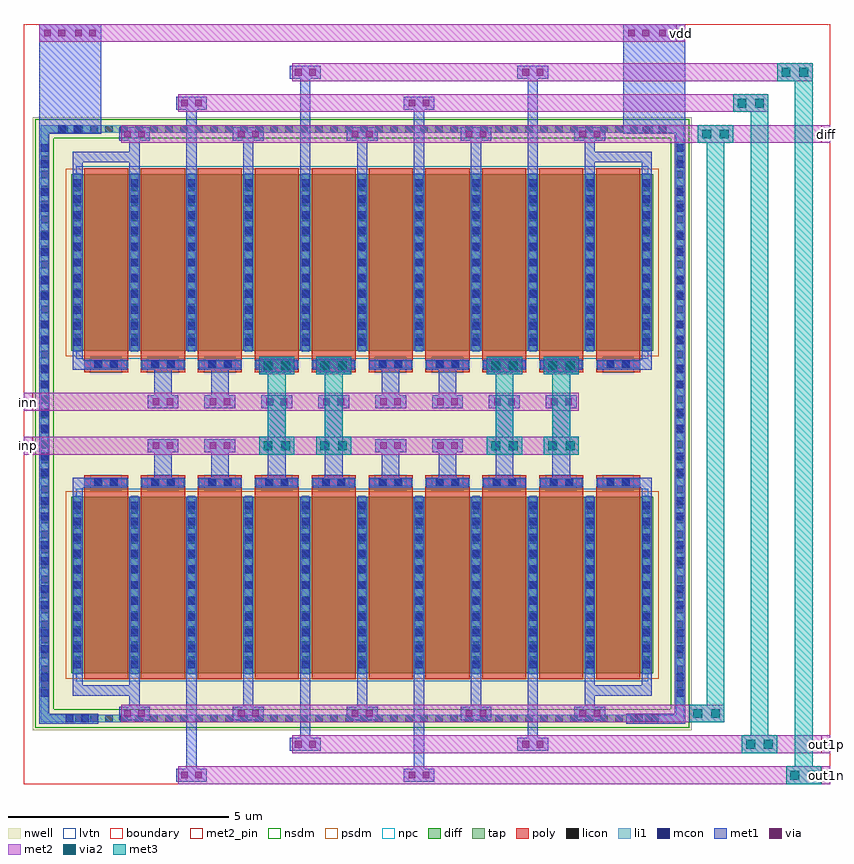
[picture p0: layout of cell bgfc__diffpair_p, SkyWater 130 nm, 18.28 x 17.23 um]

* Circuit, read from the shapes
.subckt bgfc__diffpair_p diff inn inp out1n out1p vdd
XM1 diff diff diff vdd sky130_fd_pr__pfet_01v8_lvt w=4 l=1 m=4
XM2 out1n inp diff vdd sky130_fd_pr__pfet_01v8_lvt w=4 l=1 m=8
XM3 out1p inn diff vdd sky130_fd_pr__pfet_01v8_lvt w=4 l=1 m=8
.ends

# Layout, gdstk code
from math import pi, radians
import gdstk
lib = gdstk.Library(unit=1e-6, precision=1e-09)
def R(c, l, rs):  # rectangles x0, y0, x1, y1
    for r in rs: c.add(gdstk.rectangle(r[:2], r[2:], *l))
def A(c, l, x, y, w, h, nx, ny, dx, dy):  # array of equal rectangles
    R(c, l, [(x+i*dx, y+j*dy, x+i*dx+w, y+j*dy+h) for i in range(nx) for j in range(ny)])
nwell = (64, 20)
diff = (65, 20)
tap = (65, 44)
poly = (66, 20)
licon = (66, 44)
li1 = (67, 20)
mcon = (67, 44)
met1 = (68, 20)
via = (68, 44)
met2_pin = (69, 16)
met2 = (69, 20)
via2 = (69, 44)
met3 = (70, 20)
nsdm = (93, 44)
psdm = (94, 20)
npc = (95, 20)
lvtn = (125, 44)
boundary = (235, 4)

bgfcdpp__guardring_p = lib.new_cell('bgfcdpp__Guardring_P')
A(bgfcdpp__guardring_p, licon, 44.22, 21.57, 0.17, 0.17, 39, 1, 0.34, 0)
A(bgfcdpp__guardring_p, licon, 43.43, 22.345, 0.17, 0.17, 1, 36, 0, 0.34)
A(bgfcdpp__guardring_p, licon, 57.84, 22.345, 0.17, 0.17, 1, 36, 0, 0.34)
A(bgfcdpp__guardring_p, licon, 43.88, 34.945, 0.17, 0.17, 40, 1, 0.34, 0)
bgfcdpp__guardring_p.add(gdstk.FlexPath([(43.43,35.03),(57.925,35.03),(57.925,21.655),(43.515,21.655),(43.515,35.03)], 0.17, ends="flush", simple_path=True, layer=67, datatype=20))  # li1
bgfcdpp__guardring_p.add(gdstk.FlexPath([(43.305,35.03),(57.925,35.03),(57.925,21.655),(43.515,21.655),(43.515,35.03)], 0.42, ends="flush", simple_path=True, layer=93, datatype=44))  # nsdm
bgfcdpp__guardring_p.add(gdstk.FlexPath([(43.25,35.03),(57.925,35.03),(57.925,21.655),(43.515,21.655),(43.515,35.03)], 0.53, ends="flush", simple_path=True, layer=64, datatype=20))  # nwell
bgfcdpp__guardring_p.add(gdstk.FlexPath([(43.43,35.03),(57.925,35.03),(57.925,21.655),(43.515,21.655),(43.515,35.03)], 0.17, ends="flush", simple_path=True, layer=65, datatype=44))  # tap

via__m1_m2 = lib.new_cell('via__M1_M2')
R(via__m1_m2, met1, [(0,0.05,0.7,0.35)])
R(via__m1_m2, via, [(0.115,0.125,0.265,0.275), (0.435,0.125,0.585,0.275)])
R(via__m1_m2, met2, [(0.05,0,0.65,0.4)])

bgfcdpp__m3 = lib.new_cell('bgfcdpp__M3')
R(bgfcdpp__m3, nwell, [(-0.97,-2.49,0.97,2.32)])
R(bgfcdpp__m3, diff, [(-0.79,-2.18,0.79,1.82)])
R(bgfcdpp__m3, poly, [(-0.5,-2.31,0.5,2.305)])
A(bgfcdpp__m3, licon, -0.73, -1.965, 0.17, 0.17, 1, 11, 0, 0.34)
A(bgfcdpp__m3, licon, 0.56, -1.965, 0.17, 0.17, 1, 11, 0, 0.34)
R(bgfcdpp__m3, licon, [(-0.255,2.055,-0.085,2.225), (0.085,2.055,0.255,2.225)])
R(bgfcdpp__m3, li1, [(-0.73,-2.2,-0.56,1.84), (0.56,-2.2,0.73,1.84), (-0.5,2.055,0.5,2.225)])
A(bgfcdpp__m3, mcon, -0.73, -2.065, 0.17, 0.17, 1, 11, 0, 0.36)
A(bgfcdpp__m3, mcon, 0.56, -2.065, 0.17, 0.17, 1, 11, 0, 0.36)
R(bgfcdpp__m3, mcon, [(-0.265,2.055,-0.095,2.225), (0.095,2.055,0.265,2.225)])
R(bgfcdpp__m3, met1, [(-0.76,-2.18,-0.53,1.82), (0.53,-2.18,0.76,1.82), (-0.48,2.025,0.48,2.255)])
R(bgfcdpp__m3, psdm, [(-0.915,-2.305,0.915,1.945)])
R(bgfcdpp__m3, npc, [(-0.355,1.955,0.355,2.325)])
R(bgfcdpp__m3, lvtn, [(-0.68,-2.36,0.68,2)])

bgfcdpp__m2 = lib.new_cell('bgfcdpp__M2')
R(bgfcdpp__m2, nwell, [(-0.97,-2.49,0.97,2.32)])
R(bgfcdpp__m2, diff, [(-0.79,-2.18,0.79,1.82)])
R(bgfcdpp__m2, poly, [(-0.5,-2.31,0.5,2.305)])
A(bgfcdpp__m2, licon, -0.73, -1.965, 0.17, 0.17, 1, 11, 0, 0.34)
A(bgfcdpp__m2, licon, 0.56, -1.965, 0.17, 0.17, 1, 11, 0, 0.34)
R(bgfcdpp__m2, licon, [(-0.255,2.055,-0.085,2.225), (0.085,2.055,0.255,2.225)])
R(bgfcdpp__m2, li1, [(-0.73,-2.2,-0.56,1.84), (0.56,-2.2,0.73,1.84), (-0.5,2.055,0.5,2.225)])
A(bgfcdpp__m2, mcon, -0.73, -2.065, 0.17, 0.17, 1, 11, 0, 0.36)
A(bgfcdpp__m2, mcon, 0.56, -2.065, 0.17, 0.17, 1, 11, 0, 0.36)
R(bgfcdpp__m2, mcon, [(-0.265,2.055,-0.095,2.225), (0.095,2.055,0.265,2.225)])
R(bgfcdpp__m2, met1, [(-0.76,-2.18,-0.53,1.82), (0.53,-2.18,0.76,1.82), (-0.48,2.025,0.48,2.255)])
R(bgfcdpp__m2, psdm, [(-0.915,-2.305,0.915,1.945)])
R(bgfcdpp__m2, npc, [(-0.355,1.955,0.355,2.325)])
R(bgfcdpp__m2, lvtn, [(-0.68,-2.36,0.68,2)])

via__m2_m3 = lib.new_cell('via__M2_M3')
R(via__m2_m3, met2, [(0,0,0.8,0.4)])
R(via__m2_m3, via2, [(0.1,0.1,0.3,0.3), (0.1,0.1,0.3,0.3), (0.5,0.1,0.7,0.3), (0.5,0.1,0.7,0.3)])
R(via__m2_m3, met3, [(0,0,0.8,0.4)])

via__li_m1 = lib.new_cell('via__LI_M1')
R(via__li_m1, li1, [(0.03,0.03,0.56,0.2)])
R(via__li_m1, mcon, [(0.03,0.03,0.2,0.2), (0.39,0.03,0.56,0.2)])
R(via__li_m1, met1, [(0,0,0.59,0.23)])

bgfcdpp__dum = lib.new_cell('bgfcdpp__DUM')
R(bgfcdpp__dum, nwell, [(-0.97,-2.49,0.97,2.32)])
R(bgfcdpp__dum, diff, [(-0.79,-2.18,0.79,1.82)])
R(bgfcdpp__dum, poly, [(-0.5,-2.31,0.5,2.305)])
A(bgfcdpp__dum, licon, -0.73, -1.965, 0.17, 0.17, 1, 11, 0, 0.34)
A(bgfcdpp__dum, licon, 0.56, -1.965, 0.17, 0.17, 1, 11, 0, 0.34)
R(bgfcdpp__dum, licon, [(-0.255,2.055,-0.085,2.225), (0.085,2.055,0.255,2.225)])
R(bgfcdpp__dum, li1, [(-0.73,-2.2,-0.56,1.84), (0.56,-2.2,0.73,1.84), (-0.5,2.055,0.5,2.225)])
A(bgfcdpp__dum, mcon, -0.73, -2.065, 0.17, 0.17, 1, 11, 0, 0.36)
A(bgfcdpp__dum, mcon, 0.56, -2.065, 0.17, 0.17, 1, 11, 0, 0.36)
R(bgfcdpp__dum, mcon, [(-0.265,2.055,-0.095,2.225), (0.095,2.055,0.265,2.225)])
R(bgfcdpp__dum, met1, [(-0.76,-2.18,-0.53,1.82), (0.53,-2.18,0.76,1.82), (-0.48,2.025,0.48,2.255)])
R(bgfcdpp__dum, psdm, [(-0.915,-2.305,0.915,1.945)])
R(bgfcdpp__dum, npc, [(-0.355,1.955,0.355,2.325)])
R(bgfcdpp__dum, lvtn, [(-0.68,-2.36,0.68,2)])

bgfc__diffpair_p = lib.new_cell('bgfc__diffpair_p')
R(bgfc__diffpair_p, nwell, [(0.2,1.215,15.14,15.12)])
R(bgfc__diffpair_p, met1, [(0.35,14.74,1.75,17.23), (13.59,14.74,14.99,17.23)])
R(bgfc__diffpair_p, met2_pin, [(18.08,0,18.28,0.4), (18.08,0.7,18.28,1.1), (0,7.47,0.2,7.87), (0,8.465,0.2,8.865), (18.08,14.535,18.28,14.935), (14.79,16.83,14.99,17.23)])
R(bgfc__diffpair_p, met2, [(0.355,16.83,1.75,17.23), (13.595,16.83,14.99,17.23)])
R(bgfc__diffpair_p, boundary, [(0,0,18.28,17.23)])
bgfc__diffpair_p.add(gdstk.FlexPath([(15.68,14.735),(15.68,1.6)], 0.4, ends="extended", simple_path=True, layer=70, datatype=20))  # met3
bgfc__diffpair_p.add(gdstk.FlexPath([(16.68,15.435),(16.68,0.9)], 0.4, ends="extended", simple_path=True, layer=70, datatype=20))  # met3
bgfc__diffpair_p.add(gdstk.FlexPath([(17.68,16.135),(17.68,0.2)], 0.4, ends="extended", simple_path=True, layer=70, datatype=20))  # met3
bgfc__diffpair_p.add(gdstk.FlexPath([(5.735,7.67),(5.735,9.24)], 0.4, ends="extended", simple_path=True, layer=70, datatype=20))  # met3
bgfc__diffpair_p.add(gdstk.FlexPath([(5.735,7.67),(5.735,9.24)], 0.4, ends="extended", simple_path=True, layer=70, datatype=20))  # met3
bgfc__diffpair_p.add(gdstk.FlexPath([(7.025,7.67),(7.025,9.24)], 0.4, ends="extended", simple_path=True, layer=70, datatype=20))  # met3
bgfc__diffpair_p.add(gdstk.FlexPath([(7.025,7.67),(7.025,9.24)], 0.4, ends="extended", simple_path=True, layer=70, datatype=20))  # met3
bgfc__diffpair_p.add(gdstk.FlexPath([(10.895,7.67),(10.895,9.24)], 0.4, ends="extended", simple_path=True, layer=70, datatype=20))  # met3
bgfc__diffpair_p.add(gdstk.FlexPath([(10.895,7.67),(10.895,9.24)], 0.4, ends="extended", simple_path=True, layer=70, datatype=20))  # met3
bgfc__diffpair_p.add(gdstk.FlexPath([(12.185,7.67),(12.185,9.24)], 0.4, ends="extended", simple_path=True, layer=70, datatype=20))  # met3
bgfc__diffpair_p.add(gdstk.FlexPath([(12.185,7.67),(12.185,9.24)], 0.4, ends="extended", simple_path=True, layer=70, datatype=20))  # met3
bgfc__diffpair_p.add(gdstk.FlexPath([(15.68,1.6),(2.41,1.6)], 0.4, ends="extended", simple_path=True, layer=69, datatype=20))  # met2
bgfc__diffpair_p.add(gdstk.FlexPath([(17.68,16.135),(6.28,16.135)], 0.4, ends="extended", simple_path=True, layer=69, datatype=20))  # met2
bgfc__diffpair_p.add(gdstk.FlexPath([(16.68,15.435),(3.7,15.435)], 0.4, ends="extended", simple_path=True, layer=69, datatype=20))  # met2
bgfc__diffpair_p.add(gdstk.FlexPath([(14.79,17.03),(0.55,17.03)], 0.4, ends="extended", simple_path=True, layer=69, datatype=20))  # met2
bgfc__diffpair_p.add(gdstk.FlexPath([(18.08,14.735),(2.41,14.735)], 0.4, ends="extended", simple_path=True, layer=69, datatype=20))  # met2
bgfc__diffpair_p.add(gdstk.FlexPath([(18.08,0.2),(3.7,0.2)], 0.4, ends="extended", simple_path=True, layer=69, datatype=20))  # met2
bgfc__diffpair_p.add(gdstk.FlexPath([(18.08,0.9),(6.28,0.9)], 0.4, ends="extended", simple_path=True, layer=69, datatype=20))  # met2
bgfc__diffpair_p.add(gdstk.FlexPath([(12.385,8.665),(0.2,8.665)], 0.4, ends="extended", simple_path=True, layer=69, datatype=20))  # met2
bgfc__diffpair_p.add(gdstk.FlexPath([(12.385,7.67),(0.2,7.67)], 0.4, ends="extended", simple_path=True, layer=69, datatype=20))  # met2
bgfc__diffpair_p.add(gdstk.FlexPath([(2.51,14.47),(2.51,13.94)], 0.23, ends="extended", simple_path=True, layer=68, datatype=20))  # met1
bgfc__diffpair_p.add(gdstk.FlexPath([(5.09,14.47),(5.09,13.94)], 0.23, ends="extended", simple_path=True, layer=68, datatype=20))  # met1
bgfc__diffpair_p.add(gdstk.FlexPath([(7.67,14.47),(7.67,13.94)], 0.23, ends="extended", simple_path=True, layer=68, datatype=20))  # met1
bgfc__diffpair_p.add(gdstk.FlexPath([(10.25,14.47),(10.25,13.94)], 0.23, ends="extended", simple_path=True, layer=68, datatype=20))  # met1
bgfc__diffpair_p.add(gdstk.FlexPath([(3.155,8.715),(3.155,9.42)], 0.4, ends="extended", simple_path=True, layer=68, datatype=20))  # met1
bgfc__diffpair_p.add(gdstk.FlexPath([(12.83,14.47),(12.83,13.94)], 0.23, ends="extended", simple_path=True, layer=68, datatype=20))  # met1
bgfc__diffpair_p.add(gdstk.FlexPath([(6.38,15.87),(6.38,13.94)], 0.23, ends="extended", simple_path=True, layer=68, datatype=20))  # met1
bgfc__diffpair_p.add(gdstk.FlexPath([(1.22,9.78),(1.22,9.505),(1.385,9.505)], 0.23, ends="extended", simple_path=True, layer=68, datatype=20))  # met1
bgfc__diffpair_p.add(gdstk.FlexPath([(1.22,13.94),(1.22,14.215),(2.51,14.215)], 0.23, ends="extended", simple_path=True, layer=68, datatype=20))  # met1
bgfc__diffpair_p.add(gdstk.FlexPath([(14.12,9.78),(14.12,9.505),(13.955,9.505)], 0.23, ends="extended", simple_path=True, layer=68, datatype=20))  # met1
bgfc__diffpair_p.add(gdstk.FlexPath([(14.12,13.94),(14.12,14.215),(12.83,14.215)], 0.23, ends="extended", simple_path=True, layer=68, datatype=20))  # met1
bgfc__diffpair_p.add(gdstk.FlexPath([(1.22,6.555),(1.22,6.83),(1.385,6.83)], 0.23, ends="extended", simple_path=True, layer=68, datatype=20))  # met1
bgfc__diffpair_p.add(gdstk.FlexPath([(3.8,15.17),(3.8,13.94)], 0.23, ends="extended", simple_path=True, layer=68, datatype=20))  # met1
bgfc__diffpair_p.add(gdstk.FlexPath([(11.54,15.87),(11.54,13.94)], 0.23, ends="extended", simple_path=True, layer=68, datatype=20))  # met1
bgfc__diffpair_p.add(gdstk.FlexPath([(8.96,15.17),(8.96,13.94)], 0.23, ends="extended", simple_path=True, layer=68, datatype=20))  # met1
bgfc__diffpair_p.add(gdstk.FlexPath([(1.22,2.395),(1.22,2.12),(2.51,2.12)], 0.23, ends="extended", simple_path=True, layer=68, datatype=20))  # met1
bgfc__diffpair_p.add(gdstk.FlexPath([(3.155,7.145),(3.155,7.62)], 0.4, ends="extended", simple_path=True, layer=68, datatype=20))  # met1
bgfc__diffpair_p.add(gdstk.FlexPath([(5.735,7.145),(5.735,8.615)], 0.4, ends="extended", simple_path=True, layer=68, datatype=20))  # met1
bgfc__diffpair_p.add(gdstk.FlexPath([(4.445,7.145),(4.445,7.62)], 0.4, ends="extended", simple_path=True, layer=68, datatype=20))  # met1
bgfc__diffpair_p.add(gdstk.FlexPath([(4.445,8.715),(4.445,9.42)], 0.4, ends="extended", simple_path=True, layer=68, datatype=20))  # met1
bgfc__diffpair_p.add(gdstk.FlexPath([(5.735,7.145),(5.735,8.615)], 0.4, ends="extended", simple_path=True, layer=68, datatype=20))  # met1
bgfc__diffpair_p.add(gdstk.FlexPath([(7.025,7.145),(7.025,8.615)], 0.4, ends="extended", simple_path=True, layer=68, datatype=20))  # met1
bgfc__diffpair_p.add(gdstk.FlexPath([(7.025,7.145),(7.025,8.615)], 0.4, ends="extended", simple_path=True, layer=68, datatype=20))  # met1
bgfc__diffpair_p.add(gdstk.FlexPath([(8.315,8.715),(8.315,9.42)], 0.4, ends="extended", simple_path=True, layer=68, datatype=20))  # met1
bgfc__diffpair_p.add(gdstk.FlexPath([(8.315,7.145),(8.315,7.62)], 0.4, ends="extended", simple_path=True, layer=68, datatype=20))  # met1
bgfc__diffpair_p.add(gdstk.FlexPath([(10.895,7.145),(10.895,8.615)], 0.4, ends="extended", simple_path=True, layer=68, datatype=20))  # met1
bgfc__diffpair_p.add(gdstk.FlexPath([(9.605,7.145),(9.605,7.62)], 0.4, ends="extended", simple_path=True, layer=68, datatype=20))  # met1
bgfc__diffpair_p.add(gdstk.FlexPath([(9.605,8.715),(9.605,9.42)], 0.4, ends="extended", simple_path=True, layer=68, datatype=20))  # met1
bgfc__diffpair_p.add(gdstk.FlexPath([(10.895,7.145),(10.895,8.615)], 0.4, ends="extended", simple_path=True, layer=68, datatype=20))  # met1
bgfc__diffpair_p.add(gdstk.FlexPath([(12.185,7.145),(12.185,8.615)], 0.4, ends="extended", simple_path=True, layer=68, datatype=20))  # met1
bgfc__diffpair_p.add(gdstk.FlexPath([(12.185,7.145),(12.185,8.615)], 0.4, ends="extended", simple_path=True, layer=68, datatype=20))  # met1
bgfc__diffpair_p.add(gdstk.FlexPath([(6.38,1.165),(6.38,2.395)], 0.23, ends="extended", simple_path=True, layer=68, datatype=20))  # met1
bgfc__diffpair_p.add(gdstk.FlexPath([(3.8,0.465),(3.8,2.395)], 0.23, ends="extended", simple_path=True, layer=68, datatype=20))  # met1
bgfc__diffpair_p.add(gdstk.FlexPath([(11.54,1.165),(11.54,2.395)], 0.23, ends="extended", simple_path=True, layer=68, datatype=20))  # met1
bgfc__diffpair_p.add(gdstk.FlexPath([(8.96,0.465),(8.96,2.395)], 0.23, ends="extended", simple_path=True, layer=68, datatype=20))  # met1
bgfc__diffpair_p.add(gdstk.FlexPath([(2.51,1.865),(2.51,2.395)], 0.23, ends="extended", simple_path=True, layer=68, datatype=20))  # met1
bgfc__diffpair_p.add(gdstk.FlexPath([(5.09,1.865),(5.09,2.395)], 0.23, ends="extended", simple_path=True, layer=68, datatype=20))  # met1
bgfc__diffpair_p.add(gdstk.FlexPath([(7.67,1.865),(7.67,2.395)], 0.23, ends="extended", simple_path=True, layer=68, datatype=20))  # met1
bgfc__diffpair_p.add(gdstk.FlexPath([(10.25,1.865),(10.25,2.395)], 0.23, ends="extended", simple_path=True, layer=68, datatype=20))  # met1
bgfc__diffpair_p.add(gdstk.FlexPath([(12.83,1.865),(12.83,2.395)], 0.23, ends="extended", simple_path=True, layer=68, datatype=20))  # met1
bgfc__diffpair_p.add(gdstk.FlexPath([(14.12,6.555),(14.12,6.83),(13.955,6.83)], 0.23, ends="extended", simple_path=True, layer=68, datatype=20))  # met1
bgfc__diffpair_p.add(gdstk.FlexPath([(14.12,2.395),(14.12,2.12),(12.83,2.12)], 0.23, ends="extended", simple_path=True, layer=68, datatype=20))  # met1
bgfc__diffpair_p.add(gdstk.FlexPath([(1.635,14.855),(0.465,14.855),(0.465,1.48),(1.57,1.48)], 0.23, ends="extended", simple_path=True, layer=68, datatype=20))  # met1
bgfc__diffpair_p.add(gdstk.FlexPath([(13.705,14.855),(14.875,14.855),(14.875,1.48),(13.77,1.48)], 0.23, ends="extended", simple_path=True, layer=68, datatype=20))  # met1
bgfc__diffpair_p.add(gdstk.Reference(bgfcdpp__guardring_p, (-43.05,-20.175)))
bgfc__diffpair_p.add(gdstk.Reference(via__m1_m2, (8.61,15.235)))
bgfc__diffpair_p.add(gdstk.Reference(bgfcdpp__m3, (8.315,11.645), x_reflection=True))
bgfc__diffpair_p.add(gdstk.Reference(bgfcdpp__m3, (9.605,11.645), x_reflection=True))
bgfc__diffpair_p.add(gdstk.Reference(bgfcdpp__m2, (9.605,4.69)))
bgfc__diffpair_p.add(gdstk.Reference(bgfcdpp__m2, (8.315,4.69)))
bgfc__diffpair_p.add(gdstk.Reference(via__m1_m2, (9.31,0.4), rotation=pi))
bgfc__diffpair_p.add(gdstk.Reference(via__m1_m2, (11.835,8.465)))
bgfc__diffpair_p.add(gdstk.Reference(via__m1_m2, (10.545,8.465)))
bgfc__diffpair_p.add(gdstk.Reference(via__m1_m2, (9.255,8.465)))
bgfc__diffpair_p.add(gdstk.Reference(via__m1_m2, (7.965,8.465)))
bgfc__diffpair_p.add(gdstk.Reference(via__m1_m2, (6.675,8.465)))
bgfc__diffpair_p.add(gdstk.Reference(via__m1_m2, (5.385,8.465)))
bgfc__diffpair_p.add(gdstk.Reference(via__m1_m2, (2.805,8.465)))
bgfc__diffpair_p.add(gdstk.Reference(via__m1_m2, (4.095,8.465)))
bgfc__diffpair_p.add(gdstk.Reference(via__m2_m3, (15.28,14.535)))
bgfc__diffpair_p.add(gdstk.Reference(via__m2_m3, (16.08,15.235)))
bgfc__diffpair_p.add(gdstk.Reference(via__m2_m3, (17.08,15.935)))
bgfc__diffpair_p.add(gdstk.Reference(via__li_m1, (14.595,14.74), rotation=pi, x_reflection=True))
bgfc__diffpair_p.add(gdstk.Reference(via__li_m1, (14.99,14.535), rotation=3*pi/2, x_reflection=True))
bgfc__diffpair_p.add(gdstk.Reference(via__li_m1, (14.99,13.535), rotation=3*pi/2, x_reflection=True))
bgfc__diffpair_p.add(gdstk.Reference(via__li_m1, (14.99,12.535), rotation=3*pi/2, x_reflection=True))
bgfc__diffpair_p.add(gdstk.Reference(via__li_m1, (14.99,11.535), rotation=3*pi/2, x_reflection=True))
bgfc__diffpair_p.add(gdstk.Reference(via__li_m1, (14.99,10.535), rotation=3*pi/2, x_reflection=True))
bgfc__diffpair_p.add(gdstk.Reference(via__li_m1, (14.99,9.535), rotation=3*pi/2, x_reflection=True))
bgfc__diffpair_p.add(gdstk.Reference(via__m1_m2, (13.59,16.83)))
bgfc__diffpair_p.add(gdstk.Reference(via__m1_m2, (14.29,16.83)))
bgfc__diffpair_p.add(gdstk.Reference(via__m1_m2, (11.19,15.935)))
bgfc__diffpair_p.add(gdstk.Reference(bgfcdpp__m2, (10.895,11.645), x_reflection=True))
bgfc__diffpair_p.add(gdstk.Reference(via__m2_m3, (10.495,9.285)))
bgfc__diffpair_p.add(gdstk.Reference(via__m1_m2, (10.545,9.685), x_reflection=True))
bgfc__diffpair_p.add(gdstk.Reference(via__m1_m2, (9.9,14.535)))
bgfc__diffpair_p.add(gdstk.Reference(bgfcdpp__m2, (12.185,11.645), x_reflection=True))
bgfc__diffpair_p.add(gdstk.Reference(bgfcdpp__dum, (13.475,11.645), x_reflection=True))
bgfc__diffpair_p.add(gdstk.Reference(via__m1_m2, (12.48,14.535)))
bgfc__diffpair_p.add(gdstk.Reference(via__m2_m3, (11.785,9.285)))
bgfc__diffpair_p.add(gdstk.Reference(via__m1_m2, (11.835,9.685), x_reflection=True))
bgfc__diffpair_p.add(gdstk.Reference(via__m1_m2, (6.675,9.685), x_reflection=True))
bgfc__diffpair_p.add(gdstk.Reference(via__li_m1, (0.35,14.535), rotation=3*pi/2))
bgfc__diffpair_p.add(gdstk.Reference(via__li_m1, (0.35,13.535), rotation=3*pi/2))
bgfc__diffpair_p.add(gdstk.Reference(via__li_m1, (0.35,12.535), rotation=3*pi/2))
bgfc__diffpair_p.add(gdstk.Reference(via__li_m1, (0.35,11.535), rotation=3*pi/2))
bgfc__diffpair_p.add(gdstk.Reference(via__li_m1, (0.35,10.535), rotation=3*pi/2))
bgfc__diffpair_p.add(gdstk.Reference(via__li_m1, (0.35,9.535), rotation=3*pi/2))
bgfc__diffpair_p.add(gdstk.Reference(via__m1_m2, (3.45,15.235)))
bgfc__diffpair_p.add(gdstk.Reference(via__m1_m2, (7.32,14.535)))
bgfc__diffpair_p.add(gdstk.Reference(bgfcdpp__dum, (1.865,11.645), x_reflection=True))
bgfc__diffpair_p.add(gdstk.Reference(bgfcdpp__m3, (3.155,11.645), x_reflection=True))
bgfc__diffpair_p.add(gdstk.Reference(bgfcdpp__m2, (5.735,11.645), x_reflection=True))
bgfc__diffpair_p.add(gdstk.Reference(via__m2_m3, (5.335,9.285)))
bgfc__diffpair_p.add(gdstk.Reference(via__m1_m2, (5.385,9.685), x_reflection=True))
bgfc__diffpair_p.add(gdstk.Reference(via__m1_m2, (4.74,14.535)))
bgfc__diffpair_p.add(gdstk.Reference(bgfcdpp__m2, (7.025,11.645), x_reflection=True))
bgfc__diffpair_p.add(gdstk.Reference(via__m1_m2, (1.05,16.83)))
bgfc__diffpair_p.add(gdstk.Reference(via__m1_m2, (0.35,16.83)))
bgfc__diffpair_p.add(gdstk.Reference(via__m1_m2, (2.16,14.535)))
bgfc__diffpair_p.add(gdstk.Reference(bgfcdpp__m3, (4.445,11.645), x_reflection=True))
bgfc__diffpair_p.add(gdstk.Reference(via__li_m1, (0.745,14.74)))
bgfc__diffpair_p.add(gdstk.Reference(via__m1_m2, (6.03,15.935)))
bgfc__diffpair_p.add(gdstk.Reference(via__m2_m3, (6.625,9.285)))
bgfc__diffpair_p.add(gdstk.Reference(via__li_m1, (0.35,8.535), rotation=3*pi/2))
bgfc__diffpair_p.add(gdstk.Reference(via__m1_m2, (7.965,7.47)))
bgfc__diffpair_p.add(gdstk.Reference(via__m1_m2, (4.095,7.47)))
bgfc__diffpair_p.add(gdstk.Reference(bgfcdpp__m3, (5.735,4.69)))
bgfc__diffpair_p.add(gdstk.Reference(via__m1_m2, (2.805,7.47)))
bgfc__diffpair_p.add(gdstk.Reference(via__li_m1, (0.35,7.535), rotation=3*pi/2))
bgfc__diffpair_p.add(gdstk.Reference(via__li_m1, (0.35,6.535), rotation=3*pi/2))
bgfc__diffpair_p.add(gdstk.Reference(via__li_m1, (0.35,5.535), rotation=3*pi/2))
bgfc__diffpair_p.add(gdstk.Reference(via__li_m1, (0.35,4.535), rotation=3*pi/2))
bgfc__diffpair_p.add(gdstk.Reference(via__li_m1, (0.35,3.535), rotation=3*pi/2))
bgfc__diffpair_p.add(gdstk.Reference(via__li_m1, (0.35,2.535), rotation=3*pi/2))
bgfc__diffpair_p.add(gdstk.Reference(via__li_m1, (1.505,1.595), rotation=pi))
bgfc__diffpair_p.add(gdstk.Reference(via__m1_m2, (8.02,1.8), rotation=pi))
bgfc__diffpair_p.add(gdstk.Reference(via__m2_m3, (5.335,7.47)))
bgfc__diffpair_p.add(gdstk.Reference(bgfcdpp__m3, (7.025,4.69)))
bgfc__diffpair_p.add(gdstk.Reference(via__m1_m2, (4.15,0.4), rotation=pi))
bgfc__diffpair_p.add(gdstk.Reference(via__m1_m2, (6.73,1.1), rotation=pi))
bgfc__diffpair_p.add(gdstk.Reference(bgfcdpp__dum, (1.865,4.69)))
bgfc__diffpair_p.add(gdstk.Reference(bgfcdpp__m2, (3.155,4.69)))
bgfc__diffpair_p.add(gdstk.Reference(via__m1_m2, (2.86,1.8), rotation=pi))
bgfc__diffpair_p.add(gdstk.Reference(bgfcdpp__m2, (4.445,4.69)))
bgfc__diffpair_p.add(gdstk.Reference(via__m1_m2, (5.44,1.8), rotation=pi))
bgfc__diffpair_p.add(gdstk.Reference(via__m2_m3, (6.625,7.47)))
bgfc__diffpair_p.add(gdstk.Reference(via__li_m1, (14.99,8.535), rotation=3*pi/2, x_reflection=True))
bgfc__diffpair_p.add(gdstk.Reference(via__m2_m3, (10.495,7.47)))
bgfc__diffpair_p.add(gdstk.Reference(via__m1_m2, (9.255,7.47)))
bgfc__diffpair_p.add(gdstk.Reference(via__li_m1, (13.835,1.595), x_reflection=True))
bgfc__diffpair_p.add(gdstk.Reference(via__m1_m2, (10.6,1.8), rotation=pi))
bgfc__diffpair_p.add(gdstk.Reference(via__m2_m3, (11.785,7.47)))
bgfc__diffpair_p.add(gdstk.Reference(bgfcdpp__m3, (10.895,4.69)))
bgfc__diffpair_p.add(gdstk.Reference(via__m1_m2, (13.18,1.8), rotation=pi))
bgfc__diffpair_p.add(gdstk.Reference(bgfcdpp__dum, (13.475,4.69)))
bgfc__diffpair_p.add(gdstk.Reference(bgfcdpp__m3, (12.185,4.69)))
bgfc__diffpair_p.add(gdstk.Reference(via__m1_m2, (11.89,1.1), rotation=pi))
bgfc__diffpair_p.add(gdstk.Reference(via__li_m1, (14.99,7.535), rotation=3*pi/2, x_reflection=True))
bgfc__diffpair_p.add(gdstk.Reference(via__li_m1, (14.99,6.535), rotation=3*pi/2, x_reflection=True))
bgfc__diffpair_p.add(gdstk.Reference(via__li_m1, (14.99,5.535), rotation=3*pi/2, x_reflection=True))
bgfc__diffpair_p.add(gdstk.Reference(via__li_m1, (14.99,4.535), rotation=3*pi/2, x_reflection=True))
bgfc__diffpair_p.add(gdstk.Reference(via__li_m1, (14.99,3.535), rotation=3*pi/2, x_reflection=True))
bgfc__diffpair_p.add(gdstk.Reference(via__li_m1, (14.99,2.535), rotation=3*pi/2, x_reflection=True))
bgfc__diffpair_p.add(gdstk.Reference(via__m2_m3, (15.08,1.4)))
bgfc__diffpair_p.add(gdstk.Reference(via__m2_m3, (16.28,0.7)))
bgfc__diffpair_p.add(gdstk.Reference(via__m2_m3, (17.28,0)))
bgfc__diffpair_p.add(gdstk.Label('inp', (0.11,7.665), layer=69, texttype=16))
bgfc__diffpair_p.add(gdstk.Label('inn', (0.11,8.66), layer=69, texttype=16))
bgfc__diffpair_p.add(gdstk.Label('diff', (18.19,14.73), layer=69, texttype=16))
bgfc__diffpair_p.add(gdstk.Label('out1p', (18.19,0.895), layer=69, texttype=16))
bgfc__diffpair_p.add(gdstk.Label('out1n', (18.19,0.195), layer=69, texttype=16))
bgfc__diffpair_p.add(gdstk.Label('vdd', (14.9,17.025), layer=69, texttype=16))

lib.write_gds('bgfc__diffpair_p.gds')
